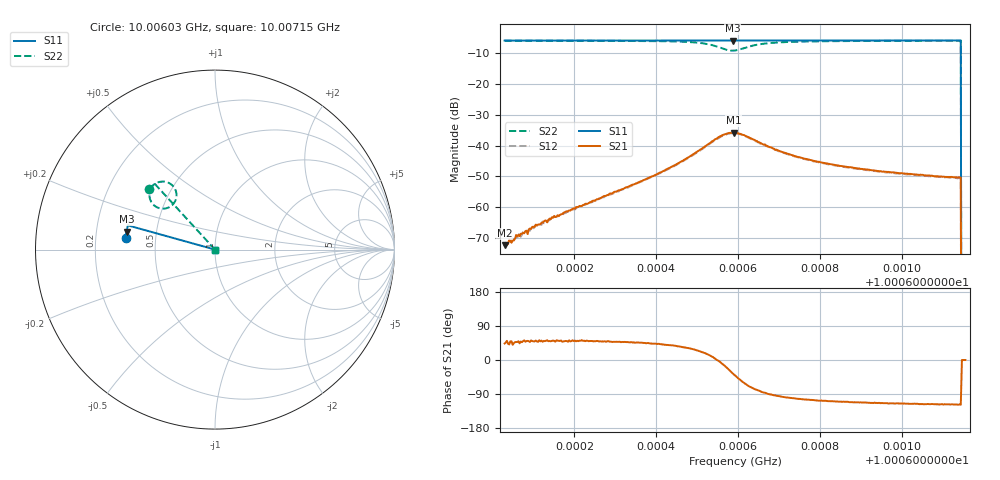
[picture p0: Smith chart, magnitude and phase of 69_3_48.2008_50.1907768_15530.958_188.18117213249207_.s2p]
#  HZ  S  RI  R  50.00
! Rohde & Schwarz Vector Network Analyzer
! Rohde-Schwarz,ZNB20-2Port,1311601062101988,3.16
! Created: UTC 3/20/2024, 11:39:06 AM
! freq[Hz]  re:S11  im:S11  re:S21  im:S21  re:S12  im:S12  re:S22  im:S22
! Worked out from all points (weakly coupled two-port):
!   401 points, 10.00603 GHz to 10.00715 GHz, reference 50 ohm
!   highest |S21| = -35.80 dB at 10.00659 GHz (marker M1); lowest = -72.3 dB at 10.00603 GHz (marker M2)
!   lowest |S11| = -6.0 dB at 10.00659 GHz (marker M3), VSWR 3.01, Z = 16.8 + j4.46 ohm
!   |S11| at or under -10 dB: 10.00714 GHz to end of sweep
!   |S22| runs from - to -6.0 dB; largest |S21 - S12| = 0.0011
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1.000603e10  -0.4977 0.0643  0.000175 0.000167  0.000175 0.000189  -0.365 0.3398
1.0006049e10  -0.4976 0.0654  0.000226 0.000191  0.000202 0.000233  -0.3638 0.3413
1.0006063e10  -0.4974 0.0665  0.000231 0.000271  0.000222 0.00026  -0.3628 0.3421
1.000608e10  -0.4972 0.0675  0.000272 0.000305  0.000269 0.00031  -0.3618 0.3434
1.0006103e10  -0.4973 0.0691  0.000315 0.000361  0.000284 0.000378  -0.3602 0.345
1.0006218e10  -0.4963 0.0764  0.000641 0.000831  0.000633 0.000824  -0.3507 0.3542
1.0006407e10  -0.4944 0.0888  0.00263 0.00242  0.00247 0.00246  -0.3205 0.3735
1.000646e10  -0.4936 0.0924  0.00447 0.00314  0.00422 0.00326  -0.2992 0.3787
1.0006522e10  -0.4926 0.0964  0.00953 0.00287  0.00916 0.00321  -0.2495 0.3672
1.0006558e10  -0.4915 0.0985  0.0142 -0.00192  0.0139 -0.00123  -0.2151 0.3137
1.0006587e10  -0.4911 0.0995  0.0132 -0.00935  0.0134 -0.00834  -0.2391 0.2474
1.0006589e10  -0.4912 0.0995  0.0127 -0.01  0.0128 -0.00898  -0.245 0.2426
1.0006592e10  -0.4913 0.0997  0.0122 -0.0105  0.0124 -0.0096  -0.251 0.2385
1.0006609e10  -0.4913 0.1004  0.00832 -0.0125  0.00884 -0.012  -0.2911 0.2279
1.0006654e10  -0.4914 0.1032  0.00147 -0.0109  0.00175 -0.0105  -0.3523 0.2611
1.0006708e10  -0.4912 0.107  -0.000983 -0.0078  -0.000563 -0.0077  -0.3651 0.2989
1.0006781e10  -0.4905 0.1119  -0.00152 -0.00551  -0.00125 -0.00548  -0.3623 0.3253
1.0006851e10  -0.4896 0.1164  -0.00159 -0.00438  -0.00136 -0.00436  -0.3568 0.3394
1.0006969e10  -0.488 0.1238  -0.00154 -0.00337  -0.00134 -0.00339  -0.3484 0.3541
1.0007138e10  -0.4856 0.1345  -0.00143 -0.00269  -0.00125 -0.00269  -0.3377 0.3679
1.0007152e10  0 0  0 0  0 0  0 0
1.0007155e10  0 0  0 0  0 0  0 0
